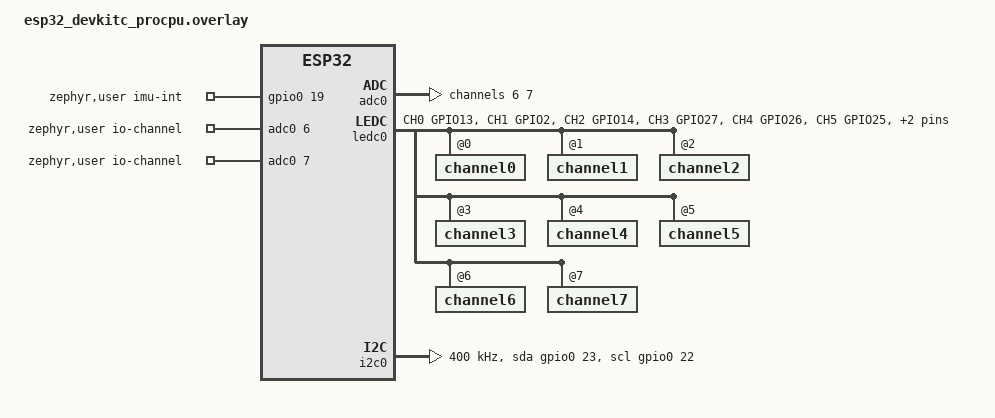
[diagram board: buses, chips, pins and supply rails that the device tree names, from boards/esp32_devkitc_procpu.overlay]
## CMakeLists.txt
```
# SPDX-License-Identifier: Apache-2.0

cmake_minimum_required(VERSION 3.28.0)

# Wi-Fi credentials are kept out of version control in wifi.conf.
if(EXISTS ${CMAKE_CURRENT_SOURCE_DIR}/wifi.conf)
  list(APPEND EXTRA_CONF_FILE ${CMAKE_CURRENT_SOURCE_DIR}/wifi.conf)
endif()

# The application runs under MCUboot, which sysbuild builds and configures.
if(NOT SYSBUILD)
  message(FATAL_ERROR "Build this application with sysbuild: west build --sysbuild ...")
endif()

find_package(Zephyr REQUIRED HINTS $ENV{ZEPHYR_BASE})
project(robot)

target_sources(app PRIVATE
  src/collision.c
  src/drive.c
  src/health.c
  src/imu.c
  src/link.c
  src/main.c
  src/motor.c
  src/ota.c
  src/wifi.c
)
target_sources_ifdef(CONFIG_ROBOT_BATTERY app PRIVATE src/battery.c)
```

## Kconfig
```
# Copyright The Zephyr Project Contributors
# SPDX-License-Identifier: Apache-2.0

mainmenu "4WD robot"

config ROBOT_WIFI_SSID
	string "Wi-Fi network name"
	help
	  SSID of the Wi-Fi network the robot joins.

config ROBOT_WIFI_PSK
	string "Wi-Fi password"
	help
	  WPA2 passphrase of the Wi-Fi network. Leave empty for an open
	  network.

config ROBOT_AP_PSK
	string "Own network password"
	help
	  WPA2 passphrase (8-63 characters) of the network the robot opens
	  when it cannot join CONFIG_ROBOT_WIFI_SSID. Leave empty to never
	  open one.

config ROBOT_AP_FALLBACK_SEC
	int "Seconds before opening the own network"
	default 20
	help
	  How long the robot tries to join CONFIG_ROBOT_WIFI_SSID before it
	  opens its own network. Without a configured SSID it opens at once.

config ROBOT_IMU_RATE
	int "IMU sampling rate (Hz)"
	default 400
	help
	  ADXL345 output data rate: 100, 200, 400 or 800.

config ROBOT_LINK_PORT
	int "UDP port of the PC link"
	default 4244
	help
	  Drive commands, status and IMU data are exchanged with the PC app
	  on this port; see src/link.h.

config ROBOT_IMU_ACCEL_OFS_X
	int "Accelerometer zero-g reading, sensor X (mg)"
	default 0
	help
	  What the ADXL345 reads at zero g on its own X axis, subtracted from
	  every sample. Measure it with the module level, then upside down:
	  the offset is the mean of the two readings. The Y and Z options
	  work the same way.

config ROBOT_IMU_ACCEL_OFS_Y
	int "Accelerometer zero-g reading, sensor Y (mg)"
	default 0

config ROBOT_IMU_ACCEL_OFS_Z
	int "Accelerometer zero-g reading, sensor Z (mg)"
	default 0

config ROBOT_IMU_GYRO_BIAS_X
	int "Gyro bias at start-up, sensor X (milli-deg/s)"
	default 0
	help
	  Rotation rate the ITG3205 reads at rest, used until the robot has
	  measured it itself after standing still. The Y and Z options work
	  the same way.

config ROBOT_IMU_GYRO_BIAS_Y
	int "Gyro bias at start-up, sensor Y (milli-deg/s)"
	default 0

config ROBOT_IMU_GYRO_BIAS_Z
	int "Gyro bias at start-up, sensor Z (milli-deg/s)"
	default 0

config ROBOT_COLLISION_MODE
	int "Collision detection mode at start-up"
	range 0 2
	default 2
	help
	  0 off, 1 monitor (report only), 2 stop (stop the motors and latch
	  the collision inhibit until reset). The PC app can change it.

config ROBOT_COLLISION_A25_MG
	int "Collision threshold: horizontal acceleration over 25 ms (mg)"
	default 600

config ROBOT_COLLISION_VIB_MG
	int "Collision threshold: vibration RMS over 100 ms (mg)"
	default 900

config ROBOT_COLLISION_A25_TURN_MG
	int "Collision threshold while turning: acceleration over 25 ms (mg)"
	default 1000
	help
	  Spins and curves shake the robot: a spin reached 0.67 g, collisions
	  1.0 g and more.

config ROBOT_COLLISION_VIB_TURN_MG
	int "Collision threshold while turning: vibration RMS (mg), 0 = unused"
	default 2000
	help
	  The skid-steer wheels scrub in spins: spins without contact reached
	  1.6 g of vibration, spins into an obstacle 2.1 to 3.8 g.

config ROBOT_COLLISION_SLOW_SHIFT
	int "Slow acceleration removed from a25: time constant 2^n samples"
	range 0 12
	default 0
	help
	  a25 is measured against a low-pass of itself with a time constant of
	  2^n samples (9: 512 samples, 1.28 s at 400 Hz). It removes what
	  changes slowly compared with an impact: the centripetal acceleration
	  in long curves, ramps, sustained pushing. Braking is too fast to be
	  affected. 0 disables it. On this robot curves last a few seconds and
	  no false alarm needed it, while it lowered curve hits by 0.1 to 0.2 g
	  (n = 9) or 0.03 to 0.06 g (n = 11); a vehicle with long curves or
	  ramps wants 10 or 11.

config ROBOT_COLLISION_IMU_POS_X_MM
	int "IMU position ahead of the reference point (mm)"
	default 0
	help
	  Position of the IMU relative to the point whose acceleration the
	  detectors judge, in the robot frame (x forward). Away from that
	  point a yawing vehicle adds alpha x r + omega x (omega x r) to the
	  measurement; this is subtracted from a25. For a car-like vehicle the
	  reference point is the middle of the rear axle; for a skid-steer or
	  differential-drive robot, the middle between the wheels.

config ROBOT_COLLISION_IMU_POS_Y_MM
	int "IMU position left of the reference point (mm)"
	default 0
	help
	  See ROBOT_COLLISION_IMU_POS_X_MM; y points left.

config ROBOT_COLLISION_IMU_ENABLE
	bool "Run the IMU-only collision detector"
	default y
	help
	  Evaluate the IMU-only detector next to the drive-context one. The
	  PC app can switch it on and off.

config ROBOT_COLLISION_ACTING
	int "Detector that acts on a collision"
	range 0 1
	default 0
	help
	  0: the drive-context detector (command and side speeds); 1: the
	  IMU-only detector. The other one only reports, so both can be
	  compared. The PC app can change it.

config ROBOT_COLLISION_IMU_A25_MG
	int "IMU-only: acceleration over 25 ms threshold (mg)"
	default 900
	help
	  Without the drive state braking is only excluded by this threshold:
	  stops from full speed reached 0.77 g, collisions 1.03 g and more.

config ROBOT_COLLISION_IMU_VIB_MG
	int "IMU-only: vibration RMS threshold (mg), 0 = unused"
	default 900

config ROBOT_COLLISION_IMU_A25_TURN_MG
	int "IMU-only: acceleration threshold while turning (mg)"
	default 1000

config ROBOT_COLLISION_IMU_VIB_TURN_MG
	int "IMU-only: vibration RMS threshold while turning (mg), 0 = unused"
	default 2000
	help
	  See ROBOT_COLLISION_VIB_TURN_MG.

config ROBOT_COLLISION_IMU_TURN_DPS
	int "IMU-only: yaw rate over 250 ms that means turning (deg/s)"
	default 10
	help
	  The robot counts as turning while the yaw rate averaged over 250 ms
	  is above this, and for 500 ms after.

config ROBOT_IMU_INT2
	bool "IMU module routes A-INT to the ADXL345 INT2 output"
	help
	  GY-85 modules differ in which ADXL345 interrupt output reaches the
	  A-INT pin. Enable this if "robot imu" counts every sample as an
	  interrupt timeout.

config ROBOT_BATTERY
	bool "Battery monitoring"
	select ADC
	help
	  Measure the motor pack on GPIO34 and the board cell on GPIO35
	  through resistor dividers, show them on the web page and block
	  driving when a battery runs low. Enable only once the dividers are
	  fitted: unconnected ADC pins float and read random voltages.

if ROBOT_BATTERY

config ROBOT_BATT_MOTOR_CELLS
	int "Motor pack cells in series"
	default 3

config ROBOT_BATT_MOTOR_DIV_TOP
	int "Motor pack divider, resistor to the battery (ohm)"
	default 100000

config ROBOT_BATT_MOTOR_DIV_BOTTOM
	int "Motor pack divider, resistor to ground (ohm)"
	default 22000

config ROBOT_BATT_MOTOR_CAL
	int "Motor pack calibration (per mille)"
	default 1000
	help
	  Scale applied to the motor pack reading to correct resistor
	  tolerance: multimeter voltage / displayed voltage * 1000.

config ROBOT_BATT_BOARD_DIV_TOP
	int "Board cell divider, resistor to the battery (ohm)"
	default 100000

config ROBOT_BATT_BOARD_DIV_BOTTOM
	int "Board cell divider, resistor to ground (ohm)"
	default 100000

config ROBOT_BATT_BOARD_CAL
	int "Board cell calibration (per mille)"
	default 1000

endif # ROBOT_BATTERY

source "Kconfig.zephyr"
```

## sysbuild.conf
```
# MCUboot with an own signing key. Only images signed with this key boot, so
# keep keys/ private and backed up; it is ignored by git.
SB_CONFIG_BOOTLOADER_MCUBOOT=y
SB_CONFIG_BOOT_SIGNATURE_TYPE_ECDSA_P256=y
SB_CONFIG_BOOT_SIGNATURE_KEY_FILE="\${APP_DIR}/keys/robot-ec-p256.pem"
# Swap using move, the mode Espressif's MCUboot port supports. The sysbuild
# default, swap using offset, hung the first boot after an update on ESP32.
SB_CONFIG_MCUBOOT_MODE_SWAP_USING_MOVE=y
```

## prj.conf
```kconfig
CONFIG_GPIO=y
CONFIG_PWM=y
CONFIG_I2C=y
CONFIG_LOG=y
CONFIG_SHELL=y
CONFIG_MAIN_STACK_SIZE=3072
# A hang or deadlock resets the robot (src/health.c), a crash too.
CONFIG_WATCHDOG=y
CONFIG_RESET_ON_FATAL_ERROR=y
CONFIG_SYSTEM_WORKQUEUE_STACK_SIZE=2048

# Calibration of this GY-85 module (flip test and rest recording).
CONFIG_ROBOT_IMU_ACCEL_OFS_X=14
CONFIG_ROBOT_IMU_ACCEL_OFS_Z=151
CONFIG_ROBOT_IMU_GYRO_BIAS_X=-5251
CONFIG_ROBOT_IMU_GYRO_BIAS_Y=-1675
CONFIG_ROBOT_IMU_GYRO_BIAS_Z=-431

# Wi-Fi station with DHCP. Everything runs over UDP: the PC link, firmware
# updates, mDNS and DHCP, so TCP is not built in.
CONFIG_WIFI=y
CONFIG_NETWORKING=y
CONFIG_NET_IPV4=y
CONFIG_NET_IPV6=n
CONFIG_NET_TCP=n
CONFIG_NET_UDP=y
CONFIG_NET_DHCPV4=y
CONFIG_NET_SOCKETS=y
CONFIG_NET_MGMT=y
CONFIG_NET_MGMT_EVENT=y
CONFIG_NET_MGMT_EVENT_INFO=y
CONFIG_NET_MGMT_EVENT_STACK_SIZE=2048
CONFIG_NET_L2_WIFI_MGMT=y
# Modem sleep delays incoming packets by up to a beacon interval.
CONFIG_ESP32_WIFI_STA_POWER_SAVE_NONE=y
# Sockets: PC link, firmware updates, mDNS on both interfaces, DHCP client
# and the own network's DHCP server.
CONFIG_NET_MAX_CONN=8
CONFIG_NET_MAX_CONTEXTS=8
CONFIG_ZVFS_OPEN_MAX=10
# The socket service polls mDNS on both interfaces plus its wake-up handle in
# one call; below that mDNS cannot register and robot.local stops answering.
CONFIG_ZVFS_POLL_MAX=8

# Station plus own access point as fallback
CONFIG_WIFI_NM=y
CONFIG_WIFI_USAGE_MODE_STA_AP=y
CONFIG_NET_DHCPV4_SERVER=y
CONFIG_NET_IF_MAX_IPV4_COUNT=2

# Reachable as robot.local
CONFIG_NET_HOSTNAME_ENABLE=y
CONFIG_NET_HOSTNAME="robot"
CONFIG_MDNS_RESPONDER=y

# Firmware update over Wi-Fi: MCUmgr image and OS groups on UDP port 1337,
# images verified and swapped by MCUboot (see sysbuild.conf).
CONFIG_FLASH=y
CONFIG_FLASH_MAP=y
CONFIG_STREAM_FLASH=y
CONFIG_IMG_MANAGER=y
CONFIG_NET_BUF=y
CONFIG_ZCBOR=y
CONFIG_MCUMGR=y
CONFIG_MCUMGR_GRP_IMG=y
CONFIG_MCUMGR_GRP_OS=y
# Lets the PC tool use larger upload chunks.
CONFIG_MCUMGR_GRP_OS_MCUMGR_PARAMS=y
CONFIG_MCUMGR_TRANSPORT_UDP=y
CONFIG_MCUMGR_TRANSPORT_UDP_IPV4=y
```

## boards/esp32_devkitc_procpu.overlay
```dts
/*
 * Copyright The Zephyr Project Contributors
 *
 * SPDX-License-Identifier: Apache-2.0
 *
 * 4WD motor driver inputs, all active low, driven by LEDC PWM channels 0-7.
 * Each motor has two inputs: "-1" drives forward, "-2" drives reverse.
 *
 *   M1-1 GPIO13 ch0   M1-2 GPIO2  ch1
 *   M2-1 GPIO14 ch2   M2-2 GPIO27 ch3
 *   M3-1 GPIO26 ch4   M3-2 GPIO25 ch5
 *   M4-1 GPIO33 ch6   M4-2 GPIO32 ch7
 */

#include <zephyr/dt-bindings/pwm/pwm.h>

#define MOTOR_PWM(ch) <&ledc0 ch PWM_HZ(1000) PWM_POLARITY_INVERTED>

/ {
	zephyr,user {
		/* M1-1, M1-2, M2-1, M2-2, M3-1, M3-2, M4-1, M4-2 */
		pwms = MOTOR_PWM(0), MOTOR_PWM(1), MOTOR_PWM(2), MOTOR_PWM(3),
		       MOTOR_PWM(4), MOTOR_PWM(5), MOTOR_PWM(6), MOTOR_PWM(7);
		/* GY-85 A-INT: ADXL345 data ready. */
		imu-int-gpios = <&gpio0 19 GPIO_ACTIVE_HIGH>;
		/* Motor pack on GPIO34, board cell on GPIO35, both via dividers. */
		io-channels = <&adc0 6>, <&adc0 7>;
	};
};

/*
 * ADC1 (adc0 here) keeps working while Wi-Fi is active, ADC2 does not. 12 dB
 * attenuation (gain 1/4) measures up to about 2.5 V.
 */
&adc0 {
	#address-cells = <1>;
	#size-cells = <0>;
	status = "okay";

	channel@6 {
		reg = <6>;
		zephyr,gain = "ADC_GAIN_1_4";
		zephyr,reference = "ADC_REF_INTERNAL";
		zephyr,acquisition-time = <ADC_ACQ_TIME_DEFAULT>;
		zephyr,resolution = <12>;
	};

	channel@7 {
		reg = <7>;
		zephyr,gain = "ADC_GAIN_1_4";
		zephyr,reference = "ADC_REF_INTERNAL";
		zephyr,acquisition-time = <ADC_ACQ_TIME_DEFAULT>;
		zephyr,resolution = <12>;
	};
};

&pinctrl {
	i2c0_imu: i2c0_imu {
		group1 {
			pinmux = <I2C0_SDA_GPIO23>, <I2C0_SCL_GPIO22>;
			bias-pull-up;
			drive-open-drain;
			output-high;
		};
	};

	ledc0_motors: ledc0_motors {
		group1 {
			pinmux = <LEDC_CH0_GPIO13>, <LEDC_CH1_GPIO2>,
				 <LEDC_CH2_GPIO14>, <LEDC_CH3_GPIO27>,
				 <LEDC_CH4_GPIO26>, <LEDC_CH5_GPIO25>,
				 <LEDC_CH6_GPIO33>, <LEDC_CH7_GPIO32>;
			output-enable;
		};
	};
};

/* "inverted" makes every input idle high (motor off) from driver init on. */
&ledc0 {
	pinctrl-0 = <&ledc0_motors>;
	pinctrl-names = "default";
	status = "okay";
	#address-cells = <1>;
	#size-cells = <0>;

	channel0@0 {
		reg = <0x0>;
		timer = <0>;
		inverted;
	};
	channel1@1 {
		reg = <0x1>;
		timer = <0>;
		inverted;
	};
	channel2@2 {
		reg = <0x2>;
		timer = <0>;
		inverted;
	};
	channel3@3 {
		reg = <0x3>;
		timer = <0>;
		inverted;
	};
	channel4@4 {
		reg = <0x4>;
		timer = <0>;
		inverted;
	};
	channel5@5 {
		reg = <0x5>;
		timer = <0>;
		inverted;
	};
	channel6@6 {
		reg = <0x6>;
		timer = <0>;
		inverted;
	};
	channel7@7 {
		reg = <0x7>;
		timer = <0>;
		inverted;
	};
};

/* GY-85 IMU on I2C0: SDA on GPIO23, SCL on GPIO22. */
&i2c0 {
	clock-frequency = <I2C_BITRATE_FAST>;
	sda-gpios = <&gpio0 23 GPIO_OPEN_DRAIN>;
	scl-gpios = <&gpio0 22 GPIO_OPEN_DRAIN>;
	pinctrl-0 = <&i2c0_imu>;
	pinctrl-names = "default";
};

/* SPI3 is routed to GPIO5/18/19/23 on this board; the IMU uses GPIO19 and 23. */
&spi3 {
	status = "disabled";
};

/* SPI2 is routed to GPIO12/13/14/15 on this board; GPIO13/14 drive M1/M2. */
&spi2 {
	status = "disabled";
};
```

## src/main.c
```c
/*
 * Copyright The Zephyr Project Contributors
 *
 * SPDX-License-Identifier: Apache-2.0
 */

#include <errno.h>
#include <stdlib.h>
#include <string.h>

#include <zephyr/kernel.h>
#include <zephyr/logging/log.h>
#include <zephyr/shell/shell.h>

#include "battery.h"
#include "drive.h"
#include "imu.h"
#include "motor.h"
#include "wifi.h"

LOG_MODULE_REGISTER(robot, LOG_LEVEL_INF);

/* Default run time of a drive command before the robot stops by itself. */
#define DRIVE_DEFAULT_MS 1000U

static int cmd_drive(const struct shell *sh, size_t argc, char **argv)
{
	uint32_t ms = (argc > 1) ? (uint32_t)strtoul(argv[1], NULL, 10) : DRIVE_DEFAULT_MS;
	enum drive_move move;

	if (drive_parse(argv[0], strlen(argv[0]), &move) != 0) {
		return -EINVAL;
	}

	drive(move, ms);

	return 0;
}

static int cmd_motor(const struct shell *sh, size_t argc, char **argv)
{
	unsigned long num = strtoul(argv[1], NULL, 10);
	int32_t speed;
	int err;

	if ((num < 1UL) || (num > (unsigned long)MOTOR_COUNT)) {
		shell_error(sh, "motor must be 1-%d", MOTOR_COUNT);
		return -EINVAL;
	}

	if (strcmp(argv[2], "fwd") == 0) {
		speed = MOTOR_SPEED_MAX;
	} else if (strcmp(argv[2], "rev") == 0) {
		speed = -MOTOR_SPEED_MAX;
	} else if (strcmp(argv[2], "stop") == 0) {
		speed = 0;
	} else {
		speed = (int32_t)strtol(argv[2], NULL, 10);
	}

	err = motor_set((enum motor_id)(num - 1UL), speed);
	if (err != 0) {
		shell_error(sh, "M%lu: failed (%d)", num, err);
	}

	return err;
}

static int cmd_status(const struct shell *sh, size_t argc, char **argv)
{
	static const char *const names[BATTERY_COUNT] = {"motor pack", "board cell"};
	struct battery_state st;

	ARG_UNUSED(argc);
	ARG_UNUSED(argv);

	for (size_t i = 0U; i < BATTERY_COUNT; i++) {
		if (battery_get((enum battery_id)i, &st) != 0) {
			shell_print(sh, "%s: not measured", names[i]);
		} else {
			shell_print(sh, "%s: %u mV%s%s", names[i], st.mv, st.low ? " low" : "",
				    st.empty ? " empty" : "");
		}
	}

	shell_print(sh, "inhibit: 0x%x, idle: %u ms", drive_inhibit_get(), drive_idle_ms());

	return 0;
}

static int cmd_imu(const struct shell *sh, size_t argc, char **argv)
{
	struct imu_stats st;
	struct imu_sample s;

	ARG_UNUSED(argc);
	ARG_UNUSED(argv);

	imu_get(&st, &s);

	if (!st.accel_ok) {
		shell_print(sh, "IMU not running");
		return -ENODEV;
	}

	shell_print(sh, "%u Hz, %u samples, %u interrupt timeouts, %u dropped, %u corrupted, "
		    "gyro 0x%02x", st.rate_hz, st.samples, st.int_timeouts, st.dropped, st.rejected,
		    st.gyro_addr);
	shell_print(sh, "accel mg: %d %d %d", (s.accel[0] * IMU_ACCEL_UG_PER_LSB) / 1000,
		    (s.accel[1] * IMU_ACCEL_UG_PER_LSB) / 1000,
		    (s.accel[2] * IMU_ACCEL_UG_PER_LSB) / 1000);
	shell_print(sh, "gyro bias (sensor axes) mdeg/s: %d %d %d, measured %u times",
		    (st.gyro_bias_q4[0] * 1000000) / (16 * IMU_GYRO_LSB_PER_DPS_X1000),
		    (st.gyro_bias_q4[1] * 1000000) / (16 * IMU_GYRO_LSB_PER_DPS_X1000),
		    (st.gyro_bias_q4[2] * 1000000) / (16 * IMU_GYRO_LSB_PER_DPS_X1000),
		    st.bias_updates);
	shell_print(sh, "gyro deg/s x10: %d %d %d",
		    (s.gyro[0] * 10000) / IMU_GYRO_LSB_PER_DPS_X1000,
		    (s.gyro[1] * 10000) / IMU_GYRO_LSB_PER_DPS_X1000,
		    (s.gyro[2] * 10000) / IMU_GYRO_LSB_PER_DPS_X1000);

	return 0;
}

static int cmd_hang(const struct shell *sh, size_t argc, char **argv)
{
	ARG_UNUSED(argc);
	ARG_UNUSED(argv);

	shell_print(sh, "Stopping all threads; the watchdog should reset the robot");
	drive(DRIVE_STOP, 0U);
	k_msleep(100);

	/* Keep every other thread off the CPU, the watchdog's feeder included. */
	k_sched_lock();
	for (;;) {
	}

	return 0;
}

static int cmd_reset(const struct shell *sh, size_t argc, char **argv)
{
	ARG_UNUSED(sh);
	ARG_UNUSED(argc);
	ARG_UNUSED(argv);

	drive_inhibit_clear(DRIVE_INHIBIT_LATCHED);

	return 0;
}

SHELL_STATIC_SUBCMD_SET_CREATE(robot_cmds,
	SHELL_CMD_ARG(fwd, NULL, "Drive forward [ms, 0 = until stop]", cmd_drive, 1, 1),
	SHELL_CMD_ARG(back, NULL, "Drive backward [ms, 0 = until stop]", cmd_drive, 1, 1),
	SHELL_CMD_ARG(left, NULL, "Spin left [ms, 0 = until stop]", cmd_drive, 1, 1),
	SHELL_CMD_ARG(right, NULL, "Spin right [ms, 0 = until stop]", cmd_drive, 1, 1),
	SHELL_CMD(stop, NULL, "Stop all motors", cmd_drive),
	SHELL_CMD(status, NULL, "Battery and inhibit state", cmd_status),
	SHELL_CMD(imu, NULL, "IMU statistics and latest sample", cmd_imu),
	SHELL_CMD(reset, NULL, "Clear a latched inhibit (collision)", cmd_reset),
	SHELL_CMD(hang, NULL, "Hang on purpose to test the watchdog", cmd_hang),
	SHELL_CMD_ARG(motor, NULL, "Drive one motor: <1-4> <fwd|rev|stop|-100..100>", cmd_motor, 3, 0),
	SHELL_SUBCMD_SET_END);

SHELL_CMD_REGISTER(robot, &robot_cmds, "4WD robot control", NULL);

int main(void)
{
	int err = motor_init();

	if (err != 0) {
		LOG_WRN("Some motors are unavailable (%d)", err);
	}

	err = battery_start();
	if ((err != 0) && (err != -ENOTSUP)) {
		LOG_ERR("Battery monitoring not started (%d)", err);
	}

	(void)imu_start();

	err = wifi_start();
	if (err != 0) {
		LOG_ERR("Wi-Fi not started (%d), shell control only", err);
	}

	LOG_INF("Robot ready");

	return 0;
}
```

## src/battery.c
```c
/*
 * Copyright The Zephyr Project Contributors
 *
 * SPDX-License-Identifier: Apache-2.0
 */

#include <errno.h>
#include <stdbool.h>

#include <zephyr/devicetree.h>
#include <zephyr/drivers/adc.h>
#include <zephyr/kernel.h>
#include <zephyr/logging/log.h>

#include "battery.h"
#include "drive.h"
#include "motor.h"

LOG_MODULE_REGISTER(battery, LOG_LEVEL_INF);

#define USER_NODE DT_PATH(zephyr_user)

#define SAMPLE_PERIOD_MS 500

/* Thresholds are evaluated only after the motors have rested this long. */
#define IDLE_MS 1000

/* While driving only a hard floor applies, for this many samples in a row. */
#define HARD_SAMPLES 6

/* Speed cap while a battery is low. */
#define LOW_SPEED_LIMIT 60

/* Below this per cell the pack is switched off or not connected. */
#define ABSENT_MV_PER_CELL 1000

struct battery_cfg {
	struct adc_dt_spec adc;
	uint32_t div_top;
	uint32_t div_bottom;
	uint32_t cal;
	uint32_t cells;
	/* Per-cell levels in mV; each "clear" level adds hysteresis. */
	uint32_t low_mv;
	uint32_t low_clear_mv;
	uint32_t empty_mv;
	uint32_t empty_clear_mv;
	uint32_t hard_mv;
	/* The battery powers the motors, so its voltage sags while driving. */
	bool motor_load;
};

static const struct battery_cfg cfgs[BATTERY_COUNT] = {
	[BATTERY_MOTOR] = {
		.adc = ADC_DT_SPEC_GET_BY_IDX(USER_NODE, 0),
		.div_top = CONFIG_ROBOT_BATT_MOTOR_DIV_TOP,
		.div_bottom = CONFIG_ROBOT_BATT_MOTOR_DIV_BOTTOM,
		.cal = CONFIG_ROBOT_BATT_MOTOR_CAL,
		.cells = CONFIG_ROBOT_BATT_MOTOR_CELLS,
		.low_mv = 3400,
		.low_clear_mv = 3500,
		.empty_mv = 3200,
		.empty_clear_mv = 3400,
		.hard_mv = 3000,
		.motor_load = true,
	},
	[BATTERY_BOARD] = {
		.adc = ADC_DT_SPEC_GET_BY_IDX(USER_NODE, 1),
		.div_top = CONFIG_ROBOT_BATT_BOARD_DIV_TOP,
		.div_bottom = CONFIG_ROBOT_BATT_BOARD_DIV_BOTTOM,
		.cal = CONFIG_ROBOT_BATT_BOARD_CAL,
		.cells = 1,
		.low_mv = 3500,
		.low_clear_mv = 3600,
		.empty_mv = 3300,
		.empty_clear_mv = 3500,
		.hard_mv = 3100,
		.motor_load = false,
	},
};

struct battery_data {
	struct battery_state state;
	bool valid;
	uint32_t hard_count;
};

static struct battery_data data[BATTERY_COUNT];
static K_MUTEX_DEFINE(battery_lock);

static int measure(const struct battery_cfg *cfg, uint32_t *mv)
{
	uint16_t raw;
	int32_t val;
	struct adc_sequence seq = {
		.buffer = &raw,
		.buffer_size = sizeof(raw),
	};
	int err;

	err = adc_sequence_init_dt(&cfg->adc, &seq);
	if (err == 0) {
		err = adc_read_dt(&cfg->adc, &seq);
	}
	if (err != 0) {
		return err;
	}

	val = (int32_t)raw;
	err = adc_raw_to_millivolts_dt(&cfg->adc, &val);
	if (err != 0) {
		return err;
	}

	*mv = (uint32_t)(((uint64_t)MAX(val, 0) * (cfg->div_top + cfg->div_bottom) * cfg->cal) /
			 ((uint64_t)cfg->div_bottom * 1000U));

	return 0;
}

/* Update low/empty with hysteresis from the filtered voltage. */
static void evaluate(const struct battery_cfg *cfg, struct battery_data *d, bool idle)
{
	uint32_t cell_mv = d->state.mv / cfg->cells;

	if (cell_mv < ABSENT_MV_PER_CELL) {
		d->state.low = false;
		d->state.empty = false;
		d->hard_count = 0U;
		return;
	}

	if (idle) {
		d->hard_count = 0U;

		if (cell_mv < cfg->low_mv) {
			d->state.low = true;
		} else if (cell_mv > cfg->low_clear_mv) {
			d->state.low = false;
		}

		if (cell_mv < cfg->empty_mv) {
			d->state.empty = true;
		} else if (cell_mv > cfg->empty_clear_mv) {
			d->state.empty = false;
		}
	} else if (cell_mv < cfg->hard_mv) {
		d->hard_count++;
		if (d->hard_count >= HARD_SAMPLES) {
			d->state.empty = true;
		}
	} else {
		d->hard_count = 0U;
	}
}

static void sample_work_handler(struct k_work *work);
static K_WORK_DELAYABLE_DEFINE(sample_work, sample_work_handler);

static void sample_work_handler(struct k_work *work)
{
	bool motors_idle = drive_idle_ms() >= IDLE_MS;
	bool any_low = false;
	bool any_empty = false;

	ARG_UNUSED(work);

	(void)k_mutex_lock(&battery_lock, K_FOREVER);

	for (size_t i = 0U; i < BATTERY_COUNT; i++) {
		const struct battery_cfg *cfg = &cfgs[i];
		struct battery_data *d = &data[i];
		uint32_t mv;

		if (measure(cfg, &mv) != 0) {
			continue;
		}

		/* First sample sets the filter, then a 1/4 exponential average. */
		d->state.mv = d->valid ? ((3U * d->state.mv) + mv) / 4U : mv;
		d->valid = true;

		evaluate(cfg, d, motors_idle || !cfg->motor_load);

		any_low = any_low || d->state.low;
		any_empty = any_empty || d->state.empty;
	}

	(void)k_mutex_unlock(&battery_lock);

	if (any_empty) {
		if ((drive_inhibit_get() & DRIVE_INHIBIT_BATTERY) == 0U) {
			drive_inhibit_set(DRIVE_INHIBIT_BATTERY);
		}
	} else {
		drive_inhibit_clear(DRIVE_INHIBIT_BATTERY);
	}

	drive_speed_limit_set(any_low ? LOW_SPEED_LIMIT : MOTOR_SPEED_MAX);

	(void)k_work_schedule(&sample_work, K_MSEC(SAMPLE_PERIOD_MS));
}

int battery_start(void)
{
	for (size_t i = 0U; i < BATTERY_COUNT; i++) {
		int err;

		if (!adc_is_ready_dt(&cfgs[i].adc)) {
			LOG_ERR("ADC not ready");
			return -ENODEV;
		}

		err = adc_channel_setup_dt(&cfgs[i].adc);
		if (err != 0) {
			LOG_ERR("ADC channel %u setup failed (%d)", cfgs[i].adc.channel_id, err);
			return err;
		}
	}

	(void)k_work_schedule(&sample_work, K_NO_WAIT);

	return 0;
}

int battery_get(enum battery_id id, struct battery_state *state)
{
	int ret = -ENODATA;

	if ((uint32_t)id >= BATTERY_COUNT) {
		return -ENODATA;
	}

	(void)k_mutex_lock(&battery_lock, K_FOREVER);
	if (data[id].valid) {
		*state = data[id].state;
		ret = 0;
	}
	(void)k_mutex_unlock(&battery_lock);

	return ret;
}
```

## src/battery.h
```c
/*
 * Copyright The Zephyr Project Contributors
 *
 * SPDX-License-Identifier: Apache-2.0
 */

#ifndef ROBOT_BATTERY_H_
#define ROBOT_BATTERY_H_

#include <stdbool.h>
#include <stdint.h>

enum battery_id {
	BATTERY_MOTOR,
	BATTERY_BOARD,
	BATTERY_COUNT,
};

struct battery_state {
	/** Filtered pack voltage in millivolts. */
	uint32_t mv;
	/** Below the warning level: speed is capped. */
	bool low;
	/** Below the cutoff: driving is inhibited. */
	bool empty;
};

#if defined(CONFIG_ROBOT_BATTERY)

/**
 * @brief Start periodic battery measurement.
 *
 * @retval 0 Started
 * @retval -ENODEV ADC not ready
 * @retval -ENOTSUP Battery monitoring disabled (CONFIG_ROBOT_BATTERY=n)
 */
int battery_start(void);

/**
 * @brief Get the latest state of one battery.
 *
 * @param id Battery to read
 * @param state Filled with the latest state
 *
 * @retval 0 Success
 * @retval -ENODATA No measurement yet, or monitoring disabled
 */
int battery_get(enum battery_id id, struct battery_state *state);

#else

#include <errno.h>

static inline int battery_start(void)
{
	return -ENOTSUP;
}

static inline int battery_get(enum battery_id id, struct battery_state *state)
{
	(void)id;
	(void)state;

	return -ENODATA;
}

#endif /* CONFIG_ROBOT_BATTERY */

#endif /* ROBOT_BATTERY_H_ */
```

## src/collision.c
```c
/*
 * Copyright The Zephyr Project Contributors
 *
 * SPDX-License-Identifier: Apache-2.0
 *
 * Collision detection on the IMU stream, the rule tools/analyze.py checks and
 * doc/collision-detection.rst derives. Two features on every sample:
 *
 *   a25  horizontal acceleration averaged over 25 ms, at the reference point
 *        (lever arm removed) and less its slow part (curves, ramps)
 *   vib  vibration RMS over 100 ms, of what the 25 ms average leaves out
 *
 * Two detectors use them with different context:
 *
 * Drive context: while driving straight, a25 or vib above its threshold;
 * while turning (turn command), with higher thresholds, because the
 * skid-steer wheels scrub and shake the robot. Braking is excluded because
 * the sides have stopped by then.
 *
 * IMU context, as on a vehicle without access to its drive: turning is a yaw
 * rate averaged over 250 ms above a threshold, held for 500 ms because the
 * scrubbing turns the robot in jerks. Braking is excluded by higher
 * thresholds only: it is slower than an impact.
 */

#include <errno.h>
#include <math.h>
#include <stdbool.h>

#include <zephyr/kernel.h>
#include <zephyr/logging/log.h>

#include "collision.h"
#include "drive.h"

LOG_MODULE_REGISTER(collision, LOG_LEVEL_INF);

#define WIN_A25      10   /* 25 ms at 400 Hz */
#define WIN_VIB      40   /* 100 ms */
#define WIN_YAW      100  /* 250 ms */
#define WARMUP       WIN_YAW
/* Starting and direction changes shake the robot; driving begins after. */
#define START_US     800000U
/* IMU context: a turn lasts this long after the yaw rate dropped. */
#define TURN_HOLD_US 500000U
/* Direction from the first 20 ms of contact, peaks from the first 100 ms. */
#define DIR_SAMPLES  8
#define PEAK_SAMPLES 40
/* One report per collision, not one per sample. */
#define HOLDOFF_US   1000000U
/* Rest offset (tilt) learns with a time constant of 256 samples. */
#define OFS_SHIFT    8

/* Gyro raw units to rad/s, accelerometer LSB per m/s^2. */
#define GYRO_RAD_S   (3.14159265f / 180.0f * 1000.0f / (float)IMU_GYRO_LSB_PER_DPS_X1000)
#define LSB_PER_MS2  (1e6f / (9.80665f * (float)IMU_ACCEL_UG_PER_LSB))
#define LEVER_ARM    ((CONFIG_ROBOT_COLLISION_IMU_POS_X_MM != 0) || \
		      (CONFIG_ROBOT_COLLISION_IMU_POS_Y_MM != 0))

#define LSB_TO_MG(x) (((x) * IMU_ACCEL_UG_PER_LSB) / 1000)
#define MG_TO_LSB(x) (((x) * 1000) / IMU_ACCEL_UG_PER_LSB)

static const char *const ctx_names[COLLISION_CTX_COUNT] = {"drive", "IMU"};

static struct k_spinlock lock;
static struct collision_state state = {
	.mode = CONFIG_ROBOT_COLLISION_MODE,
	.acting = IS_ENABLED(CONFIG_ROBOT_COLLISION_IMU_ENABLE) ? CONFIG_ROBOT_COLLISION_ACTING
								: COLLISION_CTX_DRIVE,
	.imu_enabled = IS_ENABLED(CONFIG_ROBOT_COLLISION_IMU_ENABLE),
	.a25_thr_mg = CONFIG_ROBOT_COLLISION_A25_MG,
	.vib_thr_mg = CONFIG_ROBOT_COLLISION_VIB_MG,
	.a25_turn_thr_mg = CONFIG_ROBOT_COLLISION_A25_TURN_MG,
	.vib_turn_thr_mg = CONFIG_ROBOT_COLLISION_VIB_TURN_MG,
	.imu_a25_thr_mg = CONFIG_ROBOT_COLLISION_IMU_A25_MG,
	.imu_vib_thr_mg = CONFIG_ROBOT_COLLISION_IMU_VIB_MG,
	.imu_a25_turn_thr_mg = CONFIG_ROBOT_COLLISION_IMU_A25_TURN_MG,
	.imu_vib_turn_thr_mg = CONFIG_ROBOT_COLLISION_IMU_VIB_TURN_MG,
	.imu_turn_dps = CONFIG_ROBOT_COLLISION_IMU_TURN_DPS,
};

/* Feature state, used by the sampling thread only. */
static int16_t win_x[WIN_A25];
static int16_t win_y[WIN_A25];
static int32_t sum_x;
static int32_t sum_y;
static uint32_t win_q[WIN_VIB];
static uint64_t sum_q;
static int16_t win_yaw[WIN_YAW];
static int32_t sum_yaw;
static uint32_t n_samples;
static int32_t ofs_x_q;
static int32_t ofs_y_q;
static int32_t slow_x_q;
static int32_t slow_y_q;
static int prev_sides;
static uint32_t move_start_us;
static uint32_t turn_seen_us;
static bool turn_seen;

/* Per detector: the event being completed and the hold-off. */
struct detector {
	bool collecting;
	uint32_t n;
	uint32_t t_us;
	int32_t dir_x;
	int32_t dir_y;
	uint32_t a25_sq;
	uint32_t vib_sq;
	/* Within HOLDOFF_US of t_us, the last event's start. */
	bool holdoff;
};

static struct detector det[COLLISION_CTX_COUNT];

static int sign(int v)
{
	return (v > 0) - (v < 0);
}

static uint8_t to_sector(int32_t x, int32_t y)
{
	/* The acceleration points away from what was hit. */
	float ang = atan2f((float)-y, (float)-x) * (180.0f / 3.14159265f);

	if (ang < 0.0f) {
		ang += 360.0f;
	}

	return (uint8_t)((uint32_t)((ang + 22.5f) / 45.0f) % COLLISION_SECTORS);
}

static void finish_event(size_t i)
{
	struct detector *d = &det[i];
	struct collision_event ev;
	k_spinlock_key_t key = k_spin_lock(&lock);

	state.ev[i].count++;
	state.ev[i].t_us = d->t_us;
	state.ev[i].a25_mg = (uint16_t)MIN(LSB_TO_MG((uint32_t)sqrtf((float)d->a25_sq)),
					   UINT16_MAX);
	state.ev[i].vib_mg = (uint16_t)MIN(LSB_TO_MG((uint32_t)sqrtf((float)d->vib_sq)),
					   UINT16_MAX);
	state.ev[i].sector = to_sector(d->dir_x, d->dir_y);
	ev = state.ev[i];
	k_spin_unlock(&lock, key);

	LOG_WRN("Collision (%s context): a25 %u mg, vib %u mg, sector %u", ctx_names[i],
		ev.a25_mg, ev.vib_mg, ev.sector);
}

/*
 * Average over the a25 window of what rotation about z adds at the IMU:
 * alpha x r + omega x (omega x r), in accelerometer LSB.
 */
static void lever_arm(int16_t gz, int16_t gz_old, int32_t *x, int32_t *y)
{
	const float rx = (float)CONFIG_ROBOT_COLLISION_IMU_POS_X_MM / 1000.0f;
	const float ry = (float)CONFIG_ROBOT_COLLISION_IMU_POS_Y_MM / 1000.0f;
	float w = (float)gz * GYRO_RAD_S;
	float alpha = (float)(gz - gz_old) * GYRO_RAD_S * (float)CONFIG_ROBOT_IMU_RATE /
		      (float)WIN_A25;

	*x = (int32_t)lroundf(((-alpha * ry) - (w * w * rx)) * LSB_PER_MS2);
	*y = (int32_t)lroundf(((alpha * rx) - (w * w * ry)) * LSB_PER_MS2);
}

static bool over(uint32_t value_sq, uint32_t thr_mg)
{
	uint32_t thr = MG_TO_LSB(thr_mg);

	return (thr_mg > 0U) && (value_sq > (thr * thr));
}

void collision_process(const struct imu_sample *s)
{
	const struct drive_snapshot *d = &s->drive;
	bool moving = (d->left != 0) || (d->right != 0);
	bool commanded = (d->throttle != 0) || (d->turn != 0);
	int sides = (sign(d->left) * 3) + sign(d->right);
	struct collision_state cfg;
	bool hit[COLLISION_CTX_COUNT];
	int32_t ax;
	int32_t ay;
	int32_t mx;
	int32_t my;
	uint32_t a25_sq;
	uint32_t vib_sq;
	size_t i;

	collision_get(&cfg);

	/* Learn the tilt offset only at rest. */
	if (!moving) {
		ofs_x_q += (((int32_t)s->accel[0] << OFS_SHIFT) - ofs_x_q) >> OFS_SHIFT;
		ofs_y_q += (((int32_t)s->accel[1] << OFS_SHIFT) - ofs_y_q) >> OFS_SHIFT;
	}
	ax = s->accel[0] - (ofs_x_q >> OFS_SHIFT);
	ay = s->accel[1] - (ofs_y_q >> OFS_SHIFT);

	i = n_samples % WIN_A25;
	sum_x += ax - win_x[i];
	sum_y += ay - win_y[i];
	win_x[i] = (int16_t)ax;
	win_y[i] = (int16_t)ay;
	mx = sum_x / WIN_A25;
	my = sum_y / WIN_A25;

	i = n_samples % WIN_VIB;
	sum_q -= win_q[i];
	win_q[i] = (uint32_t)(((ax - mx) * (ax - mx)) + ((ay - my) * (ay - my)));
	sum_q += win_q[i];
	vib_sq = (uint32_t)(sum_q / WIN_VIB);

	if (LEVER_ARM && (n_samples >= WIN_A25)) {
		int32_t lx;
		int32_t ly;

		lever_arm(s->gyro[2], win_yaw[(n_samples - WIN_A25) % WIN_YAW], &lx, &ly);
		mx -= lx;
		my -= ly;
	}

	if (CONFIG_ROBOT_COLLISION_SLOW_SHIFT > 0) {
		slow_x_q += ((mx * (1 << CONFIG_ROBOT_COLLISION_SLOW_SHIFT)) - slow_x_q) >>
			    CONFIG_ROBOT_COLLISION_SLOW_SHIFT;
		slow_y_q += ((my * (1 << CONFIG_ROBOT_COLLISION_SLOW_SHIFT)) - slow_y_q) >>
			    CONFIG_ROBOT_COLLISION_SLOW_SHIFT;
		mx -= slow_x_q >> CONFIG_ROBOT_COLLISION_SLOW_SHIFT;
		my -= slow_y_q >> CONFIG_ROBOT_COLLISION_SLOW_SHIFT;
	}
	a25_sq = (uint32_t)((mx * mx) + (my * my));

	/* Yaw rate (robot frame, bias removed) summed over 250 ms. */
	i = n_samples % WIN_YAW;
	sum_yaw += s->gyro[2] - win_yaw[i];
	win_yaw[i] = s->gyro[2];

	n_samples++;

	/* Drive context. */
	if ((sides != prev_sides) && moving) {
		move_start_us = s->t_us;
	}
	prev_sides = sides;
	{
		bool driving = moving && commanded &&
			       ((uint32_t)(s->t_us - move_start_us) >= START_US);
		bool turning = driving && (d->turn != 0);

		hit[COLLISION_CTX_DRIVE] =
			driving && (turning ? (over(a25_sq, cfg.a25_turn_thr_mg) ||
					       over(vib_sq, cfg.vib_turn_thr_mg))
					    : (over(a25_sq, cfg.a25_thr_mg) ||
					       over(vib_sq, cfg.vib_thr_mg)));
	}

	/* IMU context: turning from the yaw rate alone, held after it drops. */
	{
		/* Counts per deg/s are 14.375; compare the 250 ms sum directly. */
		int32_t thr = (int32_t)((cfg.imu_turn_dps * IMU_GYRO_LSB_PER_DPS_X1000 * WIN_YAW) /
					1000U);
		bool turning;

		if ((sum_yaw > thr) || (sum_yaw < -thr)) {
			turn_seen_us = s->t_us;
			turn_seen = true;
		}
		turning = turn_seen && ((uint32_t)(s->t_us - turn_seen_us) <= TURN_HOLD_US);

		hit[COLLISION_CTX_IMU] =
			turning ? (over(a25_sq, cfg.imu_a25_turn_thr_mg) ||
				   over(vib_sq, cfg.imu_vib_turn_thr_mg))
				: (over(a25_sq, cfg.imu_a25_thr_mg) ||
				   over(vib_sq, cfg.imu_vib_thr_mg));
	}

	for (i = 0U; i < COLLISION_CTX_COUNT; i++) {
		struct detector *dt = &det[i];

		if ((i == (size_t)COLLISION_CTX_IMU) && !cfg.imu_enabled) {
			/* Drop an event cut short by disabling; start clean when enabled. */
			dt->collecting = false;
			continue;
		}

		if (dt->collecting) {
			if (dt->n < DIR_SAMPLES) {
				dt->dir_x += mx;
				dt->dir_y += my;
			}
			dt->a25_sq = MAX(dt->a25_sq, a25_sq);
			dt->vib_sq = MAX(dt->vib_sq, vib_sq);
			if (++dt->n == PEAK_SAMPLES) {
				dt->collecting = false;
				finish_event(i);
			}
			continue;
		}

		/* Elapsed time, not a deadline: t_us wraps every 71.6 minutes. */
		if (dt->holdoff && ((uint32_t)(s->t_us - dt->t_us) >= HOLDOFF_US)) {
			dt->holdoff = false;
		}

		if ((cfg.mode == COLLISION_OFF) || (n_samples < WARMUP) || !hit[i] ||
		    dt->holdoff) {
			continue;
		}

		/* Stop first; the direction and peaks follow over the next samples. */
		if ((cfg.mode == COLLISION_STOP) && (i == (size_t)cfg.acting)) {
			drive_inhibit_set(DRIVE_INHIBIT_COLLISION);
		}

		dt->collecting = true;
		dt->n = 0U;
		dt->t_us = s->t_us;
		dt->dir_x = 0;
		dt->dir_y = 0;
		dt->a25_sq = a25_sq;
		dt->vib_sq = vib_sq;
		dt->holdoff = true;
	}
}

void collision_set_mode(enum collision_mode mode)
{
	k_spinlock_key_t key = k_spin_lock(&lock);

	state.mode = mode;
	k_spin_unlock(&lock, key);
}

int collision_set_acting(enum collision_context ctx)
{
	k_spinlock_key_t key = k_spin_lock(&lock);
	int ret = 0;

	if ((ctx == COLLISION_CTX_IMU) && !state.imu_enabled) {
		ret = -EINVAL;
	} else {
		state.acting = ctx;
	}
	k_spin_unlock(&lock, key);

	return ret;
}

void collision_set_imu_enabled(bool on)
{
	k_spinlock_key_t key = k_spin_lock(&lock);

	state.imu_enabled = on;
	if (!on) {
		state.acting = COLLISION_CTX_DRIVE;
	}
	k_spin_unlock(&lock, key);
}

void collision_set_thresholds(uint16_t a25_mg, uint16_t vib_mg, uint16_t a25_turn_mg,
			      uint16_t vib_turn_mg)
{
	k_spinlock_key_t key = k_spin_lock(&lock);

	state.a25_thr_mg = a25_mg;
	state.vib_thr_mg = vib_mg;
	state.a25_turn_thr_mg = a25_turn_mg;
	state.vib_turn_thr_mg = vib_turn_mg;
	k_spin_unlock(&lock, key);
}

void collision_set_imu_thresholds(uint16_t a25_mg, uint16_t vib_mg, uint16_t a25_turn_mg,
				  uint16_t vib_turn_mg, uint16_t turn_dps)
{
	k_spinlock_key_t key = k_spin_lock(&lock);

	state.imu_a25_thr_mg = a25_mg;
	state.imu_vib_thr_mg = vib_mg;
	state.imu_a25_turn_thr_mg = a25_turn_mg;
	state.imu_vib_turn_thr_mg = vib_turn_mg;
	state.imu_turn_dps = turn_dps;
	k_spin_unlock(&lock, key);
}

void collision_get(struct collision_state *st)
{
	k_spinlock_key_t key = k_spin_lock(&lock);

	*st = state;
	k_spin_unlock(&lock, key);
}
```

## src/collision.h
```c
/*
 * Copyright The Zephyr Project Contributors
 *
 * SPDX-License-Identifier: Apache-2.0
 */

#ifndef ROBOT_COLLISION_H_
#define ROBOT_COLLISION_H_

#include <stdbool.h>
#include <stdint.h>

#include "imu.h"

enum collision_mode {
	/** No detection. */
	COLLISION_OFF,
	/** Detect and report, keep driving. For recording test data. */
	COLLISION_MONITOR,
	/** The acting detector stops the motors and latches DRIVE_INHIBIT_COLLISION. */
	COLLISION_STOP,
};

/**
 * Two detectors run on the same features and differ in where their context
 * comes from. One acts (stops the robot in stop mode), the other only
 * reports, so that both can be compared on the same drives.
 */
enum collision_context {
	/** Context from the drive: command and side speeds. */
	COLLISION_CTX_DRIVE,
	/** Context from the IMU alone, as on a vehicle without access to its drive. */
	COLLISION_CTX_IMU,
	COLLISION_CTX_COUNT,
};

/**
 * Where a hit came from, seen from above, counter-clockwise from the front
 * (x forward, y left): front, front-left, left, back-left, back, back-right,
 * right, front-right.
 */
#define COLLISION_SECTORS 8

struct collision_event {
	/** Collisions detected since boot. */
	uint32_t count;
	/** Last collision: sample time (same clock as the IMU stream). */
	uint32_t t_us;
	/** Last collision: peaks over its first 100 ms, mg. */
	uint16_t a25_mg;
	uint16_t vib_mg;
	/** Last collision: direction it came from, 0..COLLISION_SECTORS-1. */
	uint8_t sector;
};

struct collision_state {
	enum collision_mode mode;
	/** Detector that stops the robot in stop mode. */
	enum collision_context acting;
	/** The IMU-only detector runs; when false it is not evaluated at all. */
	bool imu_enabled;
	/** Drive context: thresholds in mg, while straight and while turning. */
	uint16_t a25_thr_mg;
	uint16_t vib_thr_mg;
	uint16_t a25_turn_thr_mg;
	/** 0: vibration not used while turning. */
	uint16_t vib_turn_thr_mg;
	/** IMU context: thresholds in mg, and the yaw rate that means turning. */
	uint16_t imu_a25_thr_mg;
	uint16_t imu_vib_thr_mg;
	uint16_t imu_a25_turn_thr_mg;
	/** 0: vibration not used while turning. */
	uint16_t imu_vib_turn_thr_mg;
	uint16_t imu_turn_dps;
	/** Last collision of each detector. */
	struct collision_event ev[COLLISION_CTX_COUNT];
};

/**
 * @brief Feed one calibrated IMU sample in the robot frame.
 *
 * Called from the IMU sampling thread for every sample.
 *
 * @param s The sample, with the drive state at sampling time
 */
void collision_process(const struct imu_sample *s);

/**
 * @brief Select what happens on a collision.
 *
 * @param mode New mode
 */
void collision_set_mode(enum collision_mode mode);

/**
 * @brief Select the detector that acts; the other one only reports.
 *
 * @param ctx Detector
 *
 * @retval 0 Selected
 * @retval -EINVAL The IMU-only detector is disabled
 */
int collision_set_acting(enum collision_context ctx);

/**
 * @brief Run or stop the IMU-only detector.
 *
 * Disabling it while it acts hands over to the drive-context detector, so
 * the robot always keeps a collision detector.
 *
 * @param on True to run it
 */
void collision_set_imu_enabled(bool on);

/**
 * @brief Set the thresholds of the drive-context detector.
 *
 * @param a25_mg Horizontal acceleration averaged over 25 ms, mg
 * @param vib_mg Vibration RMS over 100 ms, mg
 * @param a25_turn_mg The same while turning (spin or curve), mg
 * @param vib_turn_mg The same while turning, mg; 0 does not use vibration
 */
void collision_set_thresholds(uint16_t a25_mg, uint16_t vib_mg, uint16_t a25_turn_mg,
			      uint16_t vib_turn_mg);

/**
 * @brief Set the thresholds of the IMU-only detector.
 *
 * @param a25_mg Horizontal acceleration averaged over 25 ms, mg
 * @param vib_mg Vibration RMS over 100 ms, mg
 * @param a25_turn_mg Averaged acceleration while turning, mg
 * @param vib_turn_mg Vibration while turning, mg; 0 does not use vibration
 * @param turn_dps Yaw rate averaged over 250 ms above which the robot turns
 */
void collision_set_imu_thresholds(uint16_t a25_mg, uint16_t vib_mg, uint16_t a25_turn_mg,
				  uint16_t vib_turn_mg, uint16_t turn_dps);

/**
 * @brief Get the mode, thresholds and the last collision of each detector.
 *
 * @param st Filled with the current state
 */
void collision_get(struct collision_state *st);

#endif /* ROBOT_COLLISION_H_ */
```

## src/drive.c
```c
/*
 * Copyright The Zephyr Project Contributors
 *
 * SPDX-License-Identifier: Apache-2.0
 */

#include <errno.h>
#include <stdbool.h>
#include <string.h>

#include <zephyr/kernel.h>
#include <zephyr/logging/log.h>

#include "drive.h"
#include "motor.h"

LOG_MODULE_REGISTER(drive, LOG_LEVEL_INF);

/*
 * Motor placement, seen from above with the front at the top:
 *
 *   M4  front  M3
 *   M1  rear   M2
 */
static const enum motor_id left_motors[] = {MOTOR_1, MOTOR_4};
static const enum motor_id right_motors[] = {MOTOR_2, MOTOR_3};

/*
 * Motors whose "-1" input turns their wheel backward, from mounting or lead
 * polarity, get their direction reversed here.
 */
static const bool motor_inverted[MOTOR_COUNT] = {
	[MOTOR_1] = false,
	[MOTOR_2] = true,
	[MOTOR_3] = true,
	[MOTOR_4] = false,
};

/*
 * Soft start: a side starts at RAMP_START_SPEED, the lowest power that still
 * turns the geared motors, and reaches full speed after RAMP_MS. Stops and
 * slowing down are immediate.
 */
#define RAMP_START_SPEED 35
#define RAMP_MS          600
#define RAMP_PERIOD_MS   20
#define RAMP_STEP        (((MOTOR_SPEED_MAX - RAMP_START_SPEED) * RAMP_PERIOD_MS) / RAMP_MS)

/*
 * A side that reverses coasts for this long before starting in the new
 * direction, so the gearboxes are not loaded with a sudden reversal.
 */
#define REVERSE_PAUSE_MS 150

/* In a curve the inner side runs at this share of the outer side's speed. */
#define DRIVE_CURVE_INNER_PCT 30

struct side {
	const enum motor_id *ids;
	size_t count;
	int32_t speed;
	int32_t target;
	/* Ramp periods left to coast before starting after a reversal. */
	uint32_t pause;
};

static struct side sides[] = {
	{left_motors, ARRAY_SIZE(left_motors)},
	{right_motors, ARRAY_SIZE(right_motors)},
};

static K_MUTEX_DEFINE(drive_lock);

/* Protected by drive_lock. */
static uint32_t inhibit;
static int32_t speed_limit = MOTOR_SPEED_MAX;
static int64_t last_active;
static struct drive_snapshot command;

static void side_apply(const struct side *side)
{
	if (side->speed != 0) {
		last_active = k_uptime_get();
	}

	for (size_t i = 0U; i < side->count; i++) {
		enum motor_id id = side->ids[i];
		int err = motor_set(id, motor_inverted[id] ? -side->speed : side->speed);

		if (err != 0) {
			LOG_WRN("M%u: set failed (%d)", (unsigned int)(side->ids[i] + 1), err);
		}
	}
}

static bool side_busy(const struct side *side)
{
	return (side->speed != side->target) || (side->pause > 0U);
}

/* Start from rest at the ramp start speed, or at the target if it is lower. */
static void side_start(struct side *side)
{
	int32_t start = MIN(RAMP_START_SPEED, (side->target >= 0) ? side->target : -side->target);

	side->speed = (side->target >= 0) ? start : -start;
	side_apply(side);
}

/* Advance one ramp period; returns true while the side is still busy. */
static bool side_step(struct side *side)
{
	if (side->pause > 0U) {
		side->pause--;
		if (side->pause == 0U) {
			side_start(side);
		}
		return side_busy(side);
	}

	if (side->speed == side->target) {
		return false;
	}

	if (side->speed < side->target) {
		side->speed = MIN(side->speed + RAMP_STEP, side->target);
	} else {
		side->speed = MAX(side->speed - RAMP_STEP, side->target);
	}

	side_apply(side);

	return side_busy(side);
}

/*
 * Starting begins at the ramp start speed. Reversing coasts for
 * REVERSE_PAUSE_MS first. Slowing down, as for the inner side of a curve or a
 * lower speed setting, takes effect at once; only speeding up is ramped.
 */
static void side_set_target(struct side *side, int32_t target)
{
	side->target = target;

	if (target == 0) {
		side->pause = 0U;
		side->speed = 0;
		side_apply(side);
	} else if (side->pause > 0U) {
		/* Already coasting after a reversal; side_step() starts it. */
	} else if (side->speed == 0) {
		side_start(side);
	} else if ((target > 0) != (side->speed > 0)) {
		side->speed = 0;
		side->pause = DIV_ROUND_UP(REVERSE_PAUSE_MS, RAMP_PERIOD_MS);
		side_apply(side);
	} else if (((target > 0) && (target < side->speed)) ||
		   ((target < 0) && (target > side->speed))) {
		side->speed = target;
		side_apply(side);
	} else {
		/* Same direction and faster: side_step() ramps up. */
	}
}

static void ramp_work_handler(struct k_work *work);
static K_WORK_DELAYABLE_DEFINE(ramp_work, ramp_work_handler);

static void ramp_work_handler(struct k_work *work)
{
	bool ramping = false;

	ARG_UNUSED(work);

	(void)k_mutex_lock(&drive_lock, K_FOREVER);

	for (size_t i = 0U; i < ARRAY_SIZE(sides); i++) {
		ramping = side_step(&sides[i]) || ramping;
	}

	if (ramping) {
		(void)k_work_schedule(&ramp_work, K_MSEC(RAMP_PERIOD_MS));
	}

	(void)k_mutex_unlock(&drive_lock);
}

static void drive_sides(int32_t left, int32_t right)
{
	side_set_target(&sides[0], left);
	side_set_target(&sides[1], right);

	if (side_busy(&sides[0]) || side_busy(&sides[1])) {
		(void)k_work_schedule(&ramp_work, K_MSEC(RAMP_PERIOD_MS));
	} else {
		(void)k_work_cancel_delayable(&ramp_work);
	}
}

static void stop_work_handler(struct k_work *work)
{
	ARG_UNUSED(work);

	(void)k_mutex_lock(&drive_lock, K_FOREVER);
	drive_sides(0, 0);
	(void)k_mutex_unlock(&drive_lock);
}

static K_WORK_DELAYABLE_DEFINE(stop_work, stop_work_handler);

void drive_mix(int32_t throttle, int32_t turn, int32_t speed, uint32_t ms)
{
	int32_t left;
	int32_t right;

	throttle = CLAMP(throttle, -1, 1);
	turn = CLAMP(turn, -1, 1);

	(void)k_mutex_lock(&drive_lock, K_FOREVER);

	speed = CLAMP(speed, DRIVE_SPEED_MIN, speed_limit);

	if (inhibit != 0U) {
		left = 0;
		right = 0;
	} else if (throttle == 0) {
		/* Spin in place; turn > 0 is clockwise. */
		left = turn * speed;
		right = -turn * speed;
	} else {
		/* Straight, or a curve with the inner side slowed down. */
		int32_t inner = (speed * DRIVE_CURVE_INNER_PCT) / 100;

		/* Below the minimum the motor only hums, so let it coast. */
		if (inner < DRIVE_SPEED_MIN) {
			inner = 0;
		}

		left = throttle * ((turn < 0) ? inner : speed);
		right = throttle * ((turn > 0) ? inner : speed);
	}

	command.throttle = (int8_t)throttle;
	command.turn = (int8_t)turn;
	command.speed = (uint8_t)speed;
	drive_sides(left, right);

	if ((ms > 0U) && ((left != 0) || (right != 0))) {
		(void)k_work_reschedule(&stop_work, K_MSEC(ms));
	} else {
		(void)k_work_cancel_delayable(&stop_work);
	}

	(void)k_mutex_unlock(&drive_lock);
}

void drive_inhibit_set(uint32_t reasons)
{
	(void)k_mutex_lock(&drive_lock, K_FOREVER);

	if ((inhibit & reasons) != reasons) {
		LOG_WRN("Driving inhibited (0x%x)", (unsigned int)(inhibit | reasons));
	}

	inhibit |= reasons;
	drive_sides(0, 0);
	(void)k_work_cancel_delayable(&stop_work);

	(void)k_mutex_unlock(&drive_lock);
}

void drive_inhibit_clear(uint32_t reasons)
{
	(void)k_mutex_lock(&drive_lock, K_FOREVER);

	if ((inhibit & reasons) != 0U) {
		LOG_INF("Inhibit cleared (0x%x)", (unsigned int)(inhibit & reasons));
	}

	inhibit &= ~reasons;

	(void)k_mutex_unlock(&drive_lock);
}

uint32_t drive_inhibit_get(void)
{
	uint32_t reasons;

	(void)k_mutex_lock(&drive_lock, K_FOREVER);
	reasons = inhibit;
	(void)k_mutex_unlock(&drive_lock);

	return reasons;
}

void drive_speed_limit_set(int32_t limit)
{
	(void)k_mutex_lock(&drive_lock, K_FOREVER);
	speed_limit = CLAMP(limit, DRIVE_SPEED_MIN, MOTOR_SPEED_MAX);
	(void)k_mutex_unlock(&drive_lock);
}

void drive_snapshot_get(struct drive_snapshot *snap)
{
	(void)k_mutex_lock(&drive_lock, K_FOREVER);

	*snap = command;
	snap->left = (int8_t)sides[0].speed;
	snap->right = (int8_t)sides[1].speed;
	snap->inhibit = (uint8_t)inhibit;

	(void)k_mutex_unlock(&drive_lock);
}

uint32_t drive_idle_ms(void)
{
	int64_t idle = 0;

	(void)k_mutex_lock(&drive_lock, K_FOREVER);

	if ((sides[0].speed == 0) && (sides[1].speed == 0)) {
		idle = k_uptime_get() - last_active;
	}

	(void)k_mutex_unlock(&drive_lock);

	return (uint32_t)MIN(idle, (int64_t)UINT32_MAX);
}

void drive(enum drive_move move, uint32_t ms)
{
	switch (move) {
	case DRIVE_FORWARD:
		drive_mix(1, 0, MOTOR_SPEED_MAX, ms);
		break;
	case DRIVE_BACKWARD:
		drive_mix(-1, 0, MOTOR_SPEED_MAX, ms);
		break;
	case DRIVE_LEFT:
		drive_mix(0, -1, MOTOR_SPEED_MAX, ms);
		break;
	case DRIVE_RIGHT:
		drive_mix(0, 1, MOTOR_SPEED_MAX, ms);
		break;
	default:
		drive_mix(0, 0, MOTOR_SPEED_MAX, 0U);
		break;
	}
}

int drive_parse(const char *name, size_t len, enum drive_move *move)
{
	static const struct {
		const char *name;
		enum drive_move move;
	} moves[] = {
		{"fwd", DRIVE_FORWARD},
		{"back", DRIVE_BACKWARD},
		{"left", DRIVE_LEFT},
		{"right", DRIVE_RIGHT},
		{"stop", DRIVE_STOP},
	};

	for (size_t i = 0U; i < ARRAY_SIZE(moves); i++) {
		if ((strlen(moves[i].name) == len) && (memcmp(moves[i].name, name, len) == 0)) {
			*move = moves[i].move;
			return 0;
		}
	}

	return -EINVAL;
}
```
